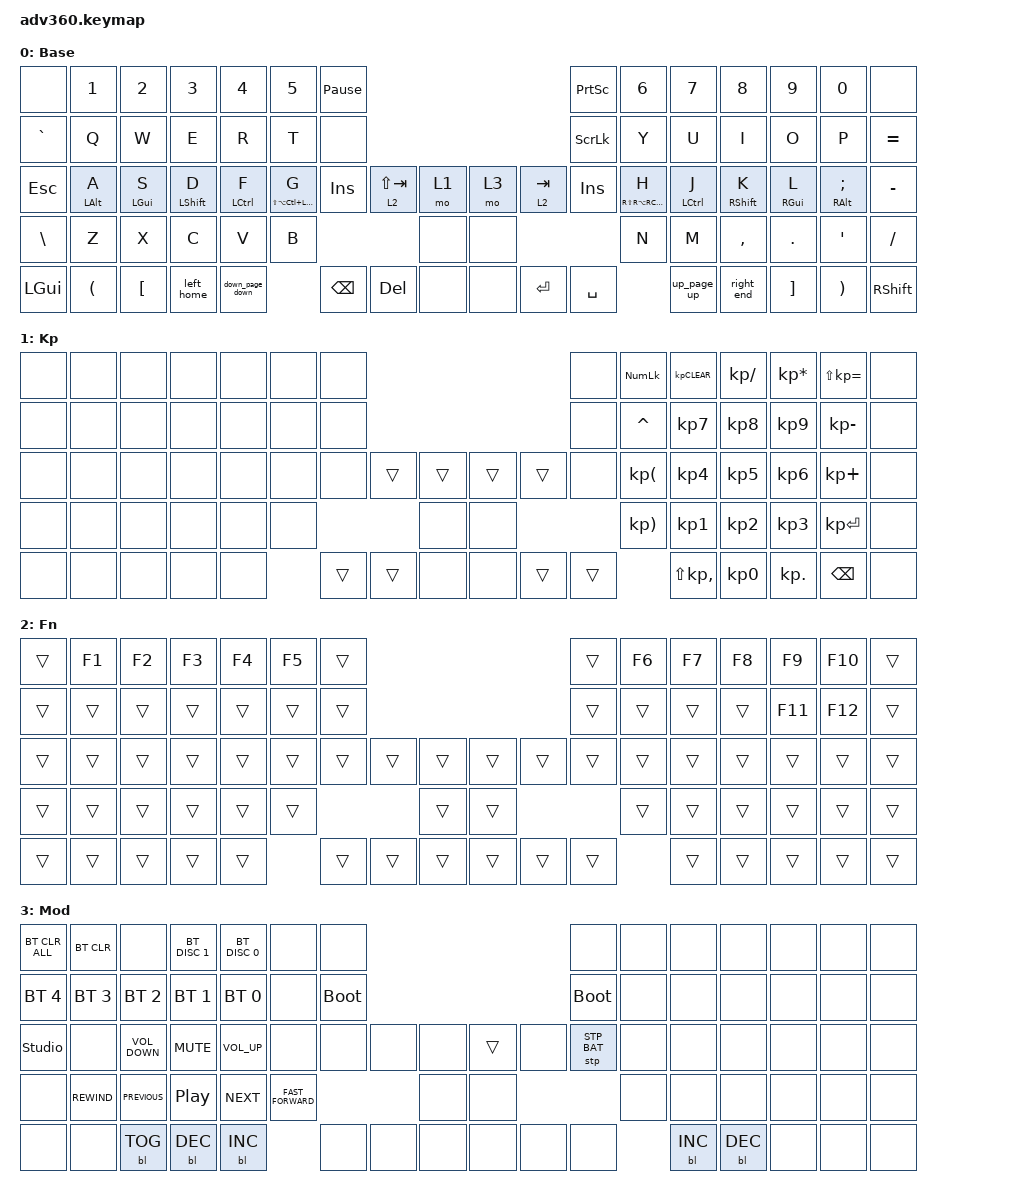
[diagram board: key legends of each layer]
#include <dt-bindings/zmk/stp.h>
#include <behaviors.dtsi>
#include <dt-bindings/zmk/backlight.h>
#include <dt-bindings/zmk/bt.h>
#include <dt-bindings/zmk/keys.h>

/ {
    behaviors {
        #include "macros.dtsi"
      #include "version.dtsi"

        hm: homerow_mods {
            compatible = "zmk,behavior-hold-tap";
            label = "HOMEROW_MODS";
            #binding-cells = <2>;
            tapping-term-ms = <200>;
            quick_tap_ms = <175>;
            flavor = "tap-preferred";
            bindings = <&kp>, <&kp>;
        };

        hrm_kp_right: hrm_kp_right {
            compatible = "zmk,behavior-hold-tap";
            label = "HRM_KP_RIGHT";
            bindings = <&kp>, <&kp>;

            #binding-cells = <2>;
            tapping-term-ms = <280>;
            hold-trigger-key-positions = <0 1 2 3 4 5 6 20 14 15 17 16 18 19 34 33 65 66 67 36 52 35 51 32 50 64 63 62 48 49 31 30 29 47 61 60 46 28 37 38 70 69 53 68>;
            hold-trigger-on-release;
            flavor = "balanced";
            quick-tap-ms = <175>;
            require-prior-idle-ms = <150>;
        };

        hrm_kp_left: hrm_kp_left {
            compatible = "zmk,behavior-hold-tap";
            label = "HRM_KP_LEFT";
            bindings = <&kp>, <&kp>;

            #binding-cells = <2>;
            tapping-term-ms = <280>;
            hold-trigger-on-release;
            flavor = "balanced";
            quick-tap-ms = <175>;
            require-prior-idle-ms = <150>;
            hold-trigger-key-positions = <37 38 53 68 69 70 35 36 52 66 67 65 7 8 9 10 11 12 13 21 22 23 24 25 26 27 38 39 40 41 42 43 44 45 54 55 56 57 58 59 71 72 73 74 75>;
        };

        bspc_del: bspc_del {
            compatible = "zmk,behavior-mod-morph";
            label = "BSPC_DEL";
            bindings = <&kp BACKSPACE>, <&kp DELETE>;

            #binding-cells = <0>;
            mods = <(MOD_LSFT|MOD_RSFT)>;
        };

        left_home: left_home {
            compatible = "zmk,behavior-mod-morph";
            label = "LEFT_HOME";
            bindings = <&kp LEFT_ARROW>, <&kp HOME>;

            #binding-cells = <0>;
            mods = <(MOD_LSFT|MOD_RSFT)>;
        };

        down_page_down: down_page_down {
            compatible = "zmk,behavior-mod-morph";
            label = "DOWN_PAGE_DOWN";
            bindings = <&kp DOWN_ARROW>, <&kp PAGE_DOWN>;

            #binding-cells = <0>;
            mods = <(MOD_LSFT|MOD_RSFT)>;
        };

        up_page_up: up_page_up {
            compatible = "zmk,behavior-mod-morph";
            label = "UP_PAGE_UP";
            bindings = <&kp UP_ARROW>, <&kp PAGE_UP>;

            #binding-cells = <0>;
            mods = <(MOD_LSFT|MOD_RSFT)>;
        };

        right_end: right_end {
            compatible = "zmk,behavior-mod-morph";
            label = "RIGHT_END";
            bindings = <&kp RIGHT_ARROW>, <&kp END>;

            #binding-cells = <0>;
            mods = <(MOD_LSFT|MOD_RSFT)>;
        };

        hrm_lt_right: hrm_lt_right {
            compatible = "zmk,behavior-hold-tap";
            label = "HRM_LT_RIGHT";
            bindings = <&mo>, <&kp>;

            #binding-cells = <2>;
            tapping-term-ms = <280>;
            hold-trigger-key-positions = <0 1 2 3 4 5 6 20 14 15 17 16 18 19 34 33 51 32 50 64 63 62 48 49 31 30 29 47 61 60 46 28>;
            hold-trigger-on-release;
            flavor = "balanced";
            quick-tap-ms = <175>;
            require-prior-idle-ms = <150>;
        };

        hrm_lt_left: hrm_lt_left {
            compatible = "zmk,behavior-hold-tap";
            label = "HRM_LT_LEFT";
            bindings = <&mo>, <&kp>;

            #binding-cells = <2>;
            tapping-term-ms = <280>;
            hold-trigger-on-release;
            flavor = "balanced";
            quick-tap-ms = <175>;
            require-prior-idle-ms = <150>;
            hold-trigger-key-positions = <7 8 9 10 11 12 13 21 22 23 24 25 26 27 39 40 41 42 43 44 45 54 55 56 57 58 59 71 72 73 74 75>;
        };
    };

    keymap {
        compatible = "zmk,keymap";

        default_layer {
            display-name = "Base";
            bindings = <
&none          &kp N1                &kp N2                   &kp N3                &kp N4                &kp N5                               &kp PAUSE_BREAK                                                                 &kp PRINTSCREEN  &kp N6                                 &kp N7                 &kp N8                  &kp N9                     &kp N0                        &none
&kp GRAVE      &kp Q                 &kp W                    &kp E                 &kp R                 &kp T                                &none                                                                           &kp SCROLLLOCK   &kp Y                                  &kp U                  &kp I                   &kp O                      &kp P                         &kp EQUAL
&kp ESC        &hrm_kp_left LALT A   &hrm_kp_left LEFT_GUI S  &hrm_kp_left LSHFT D  &hrm_kp_left LCTRL F  &hrm_kp_left LS(LA(LC(LEFT_GUI))) G  &kp INSERT       &hrm_lt_left 2 LS(TAB)  &mo 1      &mo 3  &hrm_lt_right 2 TAB  &kp INSERT       &hrm_kp_right RS(RA(RC(RIGHT_GUI))) H  &hrm_kp_right LCTRL J  &hrm_kp_right RSHIFT K  &hrm_kp_right RIGHT_GUI L  &hrm_kp_right RALT SEMICOLON  &kp MINUS
&kp BACKSLASH  &kp Z                 &kp X                    &kp C                 &kp V                 &kp B                                                                         &none      &none                                        &kp N                                  &kp M                  &kp COMMA               &kp DOT                    &kp SINGLE_QUOTE              &kp SLASH
&kp LEFT_GUI   &kp LEFT_PARENTHESIS  &kp LEFT_BRACKET         &left_home            &down_page_down                                            &kp BACKSPACE    &kp DELETE              &none      &none  &kp ENTER            &kp SPACE                                               &up_page_up            &right_end              &kp RIGHT_BRACKET          &kp RIGHT_PARENTHESIS         &kp RIGHT_SHIFT
            >;
        };

        keypad {
            display-name = "Kp";
            bindings = <
&none  &none  &none  &none  &none  &none  &none                                       &none   &kp KP_NLCK               &kp KP_CLEAR      &kp KP_SLASH  &kp KP_MULTIPLY  &kp LS(KP_EQUAL)  &none
&none  &none  &none  &none  &none  &none  &none                                       &none   &kp CARET                 &kp KP_N7         &kp KP_N8     &kp KP_N9        &kp KP_MINUS      &none
&none  &none  &none  &none  &none  &none  &none   &trans  &trans      &trans  &trans  &none   &kp KP_LEFT_PARENTHESIS   &kp KP_N4         &kp KP_N5     &kp KP_N6        &kp KP_PLUS       &none
&none  &none  &none  &none  &none  &none                  &none       &none                   &kp KP_RIGHT_PARENTHESIS  &kp KP_N1         &kp KP_N2     &kp KP_N3        &kp KP_ENTER      &none
&none  &none  &none  &none  &none         &trans  &trans  &none       &none   &trans  &trans                            &kp LS(KP_COMMA)  &kp KP_N0     &kp KP_DOT       &kp BACKSPACE     &none
            >;
        };

        fn {
            display-name = "Fn";
            bindings = <
&trans  &kp F1  &kp F2  &kp F3  &kp F4  &kp F5  &trans                                      &trans  &kp F6  &kp F7  &kp F8  &kp F9   &kp F10  &trans
&trans  &trans  &trans  &trans  &trans  &trans  &trans                                      &trans  &trans  &trans  &trans  &kp F11  &kp F12  &trans
&trans  &trans  &trans  &trans  &trans  &trans  &trans  &trans  &trans      &trans  &trans  &trans  &trans  &trans  &trans  &trans   &trans   &trans
&trans  &trans  &trans  &trans  &trans  &trans                  &trans      &trans                  &trans  &trans  &trans  &trans   &trans   &trans
&trans  &trans  &trans  &trans  &trans          &trans  &trans  &trans      &trans  &trans  &trans          &trans  &trans  &trans   &trans   &trans
            >;
        };

        mod {
            display-name = "Mod";
            bindings = <
&bt BT_CLR_ALL  &bt BT_CLR    &none              &bt BT_DISC 1     &bt BT_DISC 0    &none               &none                                         &none         &none  &none       &none       &none  &none  &none
&bt BT_SEL 4    &bt BT_SEL 3  &bt BT_SEL 2       &bt BT_SEL 1      &bt BT_SEL 0     &none               &bootloader                                   &bootloader   &none  &none       &none       &none  &none  &none
&studio_unlock  &none         &kp C_VOLUME_DOWN  &kp C_MUTE        &kp C_VOLUME_UP  &none               &none        &none  &none      &trans  &none  &stp STP_BAT  &none  &none       &none       &none  &none  &none
&none           &kp C_REWIND  &kp C_PREVIOUS     &kp C_PLAY_PAUSE  &kp C_NEXT       &kp C_FAST_FORWARD                      &none      &none                        &none  &none       &none       &none  &none  &none
&none           &none         &bl BL_TOG         &bl BL_DEC        &bl BL_INC                           &none        &none  &none      &none   &none  &none                &bl BL_INC  &bl BL_DEC  &none  &none  &none
            >;
        };
    };
};
